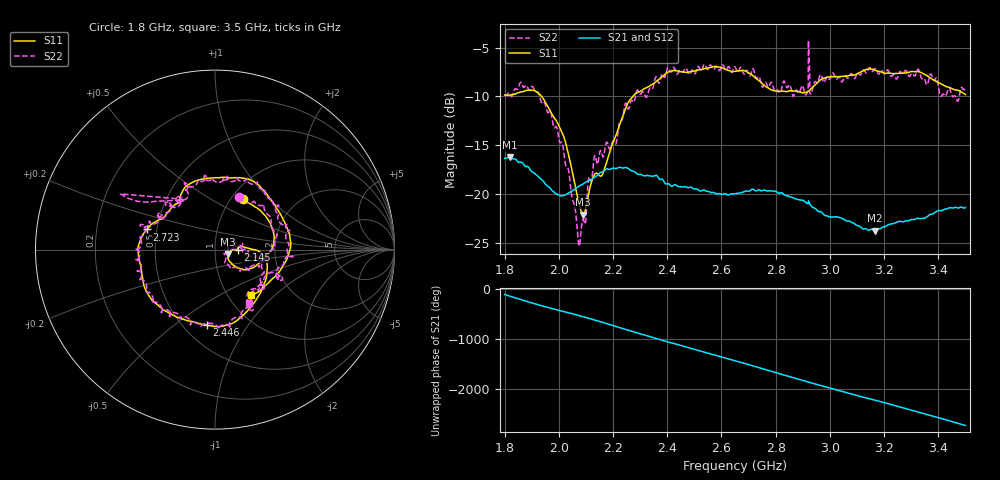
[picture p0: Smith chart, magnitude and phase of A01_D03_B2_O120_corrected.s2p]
! Created with skrf 1.9.0 (http://scikit-rf.org).
# Hz S RI R 50.0
!freq ReS11 ImS11 ReS21 ImS21 ReS12 ImS12 ReS22 ImS22
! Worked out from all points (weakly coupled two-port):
!   1601 points, 1.8 GHz to 3.5 GHz, reference 50 ohm
!   highest |S21| = -16.25 dB at 1.818 GHz (marker M1); lowest = -23.8 dB at 3.165 GHz (marker M2)
!   lowest |S11| = -22.1 dB at 2.09 GHz (marker M3), VSWR 1.17, Z = 57.8 - j3.12 ohm
!   |S11| at or under -10 dB: 1.937 GHz to 2.273 GHz (336.8 MHz wide, 16 % of centre)
!   |S22| runs from -25.4 to -4.3 dB; largest |S21 - S12| = 0.0027
!   S11 on the Smith chart (normalised r, x): 1.8 GHz: 1.13, +0.71; 2.145 GHz: 1.29, +0.00; 2.446 GHz: 0.65, -0.66; 2.723 GHz: 0.44, +0.12; 3.5 GHz: 1.27, -0.72
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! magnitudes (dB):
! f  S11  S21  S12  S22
! 1.8 GHz  -9.9  -16.4  -16.4  -9.8
! 1.818 GHz  -9.9  -16.3  -16.3  -9.8
! 1.903 GHz  -9.4  -17.8  -17.7  -9.0
! 1.968 GHz  -11.5  -19.4  -19.5  -11.5
! 2.016 GHz  -14.0  -20.2  -20.2  -15.2
! 2.072 GHz  -20.6  -19.3  -19.3  -25.0
! 2.084 GHz  -21.8  -19.1  -19.0  -23.3
! 2.09 GHz  -22.1  -19.0  -19.0  -22.6
! 2.112 GHz  -19.7  -18.6  -18.6  -18.3
! 2.145 GHz  -18.0  -18.0  -18.0  -16.7
! 2.209 GHz  -14.1  -17.4  -17.3  -14.9
! 2.26 GHz  -10.4  -17.5  -17.5  -11.1
! 2.367 GHz  -8.3  -18.4  -18.3  -8.6
! 2.446 GHz  -7.5  -19.3  -19.2  -7.3
! 2.65 GHz  -7.4  -20.0  -19.9  -7.0
! 2.723 GHz  -8.1  -19.6  -19.6  -7.7
! 2.934 GHz  -9.1  -21.3  -21.3  -9.6
! 3.165 GHz  -7.3  -23.8  -23.7  -7.2
! 3.217 GHz  -7.6  -23.1  -23.1  -7.5
! 3.326 GHz  -7.5  -22.5  -22.5  -7.2
! 3.468 GHz  -9.4  -21.4  -21.4  -10.4
! 3.5 GHz  -9.8  -21.4  -21.4  -9.1
